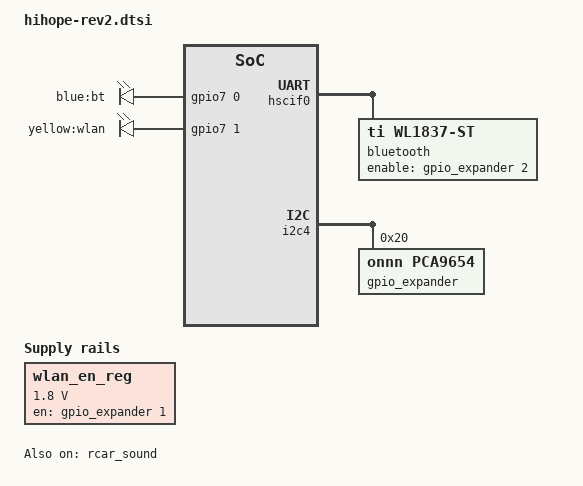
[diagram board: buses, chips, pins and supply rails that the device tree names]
// SPDX-License-Identifier: GPL-2.0
/*
 * Device Tree Source for the HiHope RZ/G2[MN] main board Rev.2.0 common
 * parts
 *
 * Copyright (C) 2020 Renesas Electronics Corp.
 */

#include <dt-bindings/gpio/gpio.h>
#include "hihope-common.dtsi"

/ {
	leds {
		compatible = "gpio-leds";

		bt_active_led {
			label = "blue:bt";
			gpios = <&gpio7  0 GPIO_ACTIVE_HIGH>;
			linux,default-trigger = "hci0-power";
			default-state = "off";
		};

		wlan_active_led {
			label = "yellow:wlan";
			gpios = <&gpio7  1 GPIO_ACTIVE_HIGH>;
			linux,default-trigger = "phy0tx";
			default-state = "off";
		};
	};

	wlan_en_reg: regulator-wlan_en {
		compatible = "regulator-fixed";
		regulator-name = "wlan-en-regulator";
		regulator-min-microvolt = <1800000>;
		regulator-max-microvolt = <1800000>;
		startup-delay-us = <70000>;

		gpio = <&gpio_expander 1 GPIO_ACTIVE_HIGH>;
		enable-active-high;
	};
};

&hscif0 {
	bluetooth {
		compatible = "ti,wl1837-st";
		enable-gpios = <&gpio_expander 2 GPIO_ACTIVE_HIGH>;
	};
};

&i2c4 {
	gpio_expander: gpio@20 {
		compatible = "onnn,pca9654";
		reg = <0x20>;
		gpio-controller;
		#gpio-cells = <2>;
	};
};

&pfc {
	sound_clk_pins: sound_clk {
		groups = "audio_clk_a_a";
		function = "audio_clk";
	};
};

&rcar_sound {
	pinctrl-0 = <&sound_clk_pins>;
	pinctrl-names = "default";

	status = "okay";

	/* Single DAI */
	#sound-dai-cells = <0>;

	rsnd_port: port {
		rsnd_endpoint: endpoint {
			remote-endpoint = <&dw_hdmi0_snd_in>;

			dai-format = "i2s";
			bitclock-master = <&rsnd_endpoint>;
			frame-master = <&rsnd_endpoint>;

			playback = <&ssi2>;
		};
	};
};
